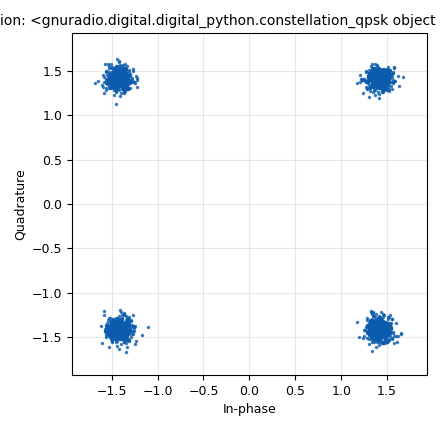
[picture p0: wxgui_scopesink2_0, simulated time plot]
<?xml version='1.0' encoding='utf-8'?>
<flow_graph>
<block>
<key>options</key>
<param><key>id</key><value>ber_sim</value></param>
<param><key>title</key><value>BER Simulation</value></param>
<param><key>author</key><value>Example</value></param>
<param><key>description</key><value>Adjust the noise and constellation... see what happens!</value></param>
<param><key>generate_options</key><value>wx_gui</value></param>
<param><key>category</key><value>Custom</value></param>
</block>
<block>
<key>gr_noise_source_x</key>
<param><key>id</key><value>gr_noise_source_x</value></param>
<param><key>type</key><value>complex</value></param>
<param><key>noise_type</key><value>gr.GR_GAUSSIAN</value></param>
<param><key>amp</key><value>noise</value></param>
<param><key>seed</key><value>42</value></param>
</block>
<block>
<key>wxgui_numbersink2</key>
<param><key>id</key><value>wxgui_numbersink2</value></param>
<param><key>type</key><value>float</value></param>
<param><key>title</key><value>BER</value></param>
<param><key>units</key><value>%</value></param>
<param><key>samp_rate</key><value>samp_rate</value></param>
<param><key>min_value</key><value>0.0</value></param>
<param><key>max_value</key><value>1.0</value></param>
<param><key>factor</key><value>100</value></param>
<param><key>decimal_places</key><value>4</value></param>
<param><key>ref_level</key><value>0</value></param>
<param><key>number_rate</key><value>15</value></param>
<param><key>peak_hold</key><value>False</value></param>
<param><key>average</key><value>False</value></param>
<param><key>avg_alpha</key><value>0</value></param>
<param><key>show_gauge</key><value>False</value></param>
<param><key>grid_pos</key><value>1, 0, 1, 1</value></param>
</block>
<block>
<key>gr_throttle</key>
<param><key>id</key><value>gr_throttle</value></param>
<param><key>type</key><value>byte</value></param>
<param><key>samples_per_second</key><value>samp_rate</value></param>
<param><key>vlen</key><value>1</value></param>
</block>
<block>
<key>variable</key>
<param><key>id</key><value>samp_rate</value></param>
<param><key>value</key><value>50e3</value></param>
</block>
<block>
<key>import</key>
<param><key>id</key><value>import</value></param>
<param><key>import</key><value>import math</value></param>
</block>
<block>
<key>wxgui_scopesink2</key>
<param><key>id</key><value>wxgui_scopesink2_0</value></param>
<param><key>type</key><value>complex</value></param>
<param><key>title</key><value>"Constellation: "+str(const)</value></param>
<param><key>samp_rate</key><value>samp_rate</value></param>
<param><key>v_scale</key><value>0</value></param>
<param><key>v_offset</key><value>0</value></param>
<param><key>t_scale</key><value>0</value></param>
<param><key>ac_couple</key><value>False</value></param>
<param><key>xy_mode</key><value>True</value></param>
<param><key>num_inputs</key><value>1</value></param>
<param><key>grid_pos</key><value>2, 0, 1, 1</value></param>
<param><key>trig_mode</key><value>gr.gr_TRIG_MODE_AUTO</value></param>
<param><key>y_axis_label</key><value>Counts</value></param>
</block>
<block>
<key>gr_add_xx</key>
<param><key>id</key><value>gr_add_xx</value></param>
<param><key>type</key><value>complex</value></param>
<param><key>num_inputs</key><value>2</value></param>
<param><key>vlen</key><value>1</value></param>
</block>
<block>
<key>digital_constellation_decoder_cb</key>
<param><key>id</key><value>digital_constellation_decoder_cb_0</value></param>
<param><key>constellation</key><value>const.base()</value></param>
</block>
<block>
<key>variable</key>
<param><key>id</key><value>const</value></param>
<param><key>value</key><value>digital.qpsk_constellation()</value></param>
</block>
<block>
<key>variable</key>
<param><key>id</key><value>const_points</value></param>
<param><key>value</key><value>const.points()</value></param>
</block>
<block>
<key>random_source_x</key>
<param><key>id</key><value>random_source_x</value></param>
<param><key>type</key><value>byte</value></param>
<param><key>min</key><value>0</value></param>
<param><key>max</key><value>len(const_points)</value></param>
<param><key>num_samps</key><value>1000000</value></param>
<param><key>repeat</key><value>False</value></param>
</block>
<block>
<key>gr_chunks_to_symbols_xx</key>
<param><key>id</key><value>gr_chunks_to_symbols_xx</value></param>
<param><key>in_type</key><value>byte</value></param>
<param><key>out_type</key><value>complex</value></param>
<param><key>symbol_table</key><value>const_points</value></param>
<param><key>dimension</key><value>1</value></param>
<param><key>num_ports</key><value>1</value></param>
</block>
<block>
<key>blks2_error_rate</key>
<param><key>id</key><value>blks2_error_rate</value></param>
<param><key>type</key><value>'BER'</value></param>
<param><key>win_size</key><value>1000000</value></param>
<param><key>bits_per_symbol</key><value>int(math.log(len(const_points))/math.log(2))</value></param>
</block>
<block>
<key>variable_slider</key>
<param><key>id</key><value>noise</value></param>
<param><key>label</key><value>AWGN Noise</value></param>
<param><key>value</key><value>0.10</value></param>
<param><key>min</key><value>0</value></param>
<param><key>max</key><value>1</value></param>
<param><key>num_steps</key><value>100</value></param>
<param><key>style</key><value>wx.SL_HORIZONTAL</value></param>
<param><key>converver</key><value>float_converter</value></param>
</block>
<connection><source_block_id>blks2_error_rate</source_block_id><sink_block_id>wxgui_numbersink2</sink_block_id><source_key>0</source_key><sink_key>0</sink_key></connection>
<connection><source_block_id>gr_throttle</source_block_id><sink_block_id>blks2_error_rate</sink_block_id><source_key>0</source_key><sink_key>0</sink_key></connection>
<connection><source_block_id>gr_chunks_to_symbols_xx</source_block_id><sink_block_id>gr_add_xx</sink_block_id><source_key>0</source_key><sink_key>0</sink_key></connection>
<connection><source_block_id>gr_noise_source_x</source_block_id><sink_block_id>gr_add_xx</sink_block_id><source_key>0</source_key><sink_key>1</sink_key></connection>
<connection><source_block_id>random_source_x</source_block_id><sink_block_id>gr_throttle</sink_block_id><source_key>0</source_key><sink_key>0</sink_key></connection>
<connection><source_block_id>random_source_x</source_block_id><sink_block_id>gr_chunks_to_symbols_xx</sink_block_id><source_key>0</source_key><sink_key>0</sink_key></connection>
<connection><source_block_id>gr_add_xx</source_block_id><sink_block_id>wxgui_scopesink2_0</sink_block_id><source_key>0</source_key><sink_key>0</sink_key></connection>
<connection><source_block_id>digital_constellation_decoder_cb_0</source_block_id><sink_block_id>blks2_error_rate</sink_block_id><source_key>0</source_key><sink_key>1</sink_key></connection>
<connection><source_block_id>gr_add_xx</source_block_id><sink_block_id>digital_constellation_decoder_cb_0</sink_block_id><source_key>0</source_key><sink_key>0</sink_key></connection>
</flow_graph>
